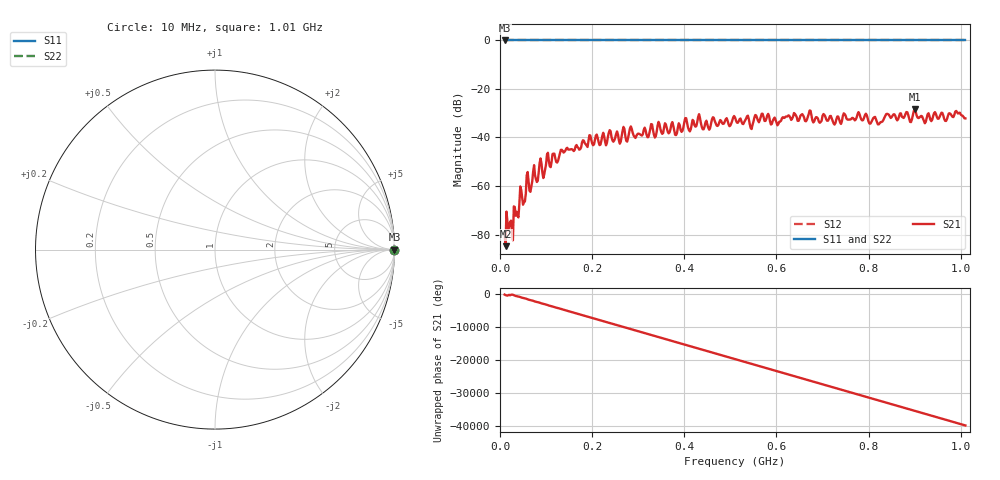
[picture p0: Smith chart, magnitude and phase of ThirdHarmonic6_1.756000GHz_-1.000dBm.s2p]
! 8/16/2025 9:11:40 PM
! C:\ANRITSUVNA\TEMP\TEMP.S2P
! CHANNEL.1
! TR.MEASUREMENT
! RAW.DATA
! RF.CORRECTION.OFF
! AVERAGING.OFF
! IF.BANDWIDTH: 5KHZ
! SWEEPTYPE:  FREQ.SWEEP(Linear)
! Reference Plane Port Info
! PORT:  PORT1  PORT2
! DISTANCE:  0  m  0  m
! TIME:  0  s  0  s
! PHASE.OFFSET:  0  deg.  0  deg.
! LOSS:  0  dB  0  dB
! REF.LOSS:  0  dB  0  dB
! REF.FREQ:  0  Hz  0  Hz
! Power Info
! POWER:  -20  dBm  -20  dBm
! EFF.POWER:  -20  dBm  -20  dBm
! SOURCE.ATTEN:  0  dB  0  dB
! TEST.ATTEN:  0  dB  0  dB
# GHZ S RI R 50.0
! FREQ.GHZ  S11RE  S11IM  S21RE  S21IM  S12RE  S12IM  S22RE  S22IM
!; PortSelection: Port_12
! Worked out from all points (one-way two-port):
!   501 points, 10 MHz to 1.01 GHz, reference 50 ohm
!   highest |S21| = -28.23 dB at 900 MHz (marker M1); lowest = -84.8 dB at 12 MHz (marker M2)
!   lowest |S11| = 0.0 dB at 10 MHz (marker M3)
!   |S11| at or under -10 dB: nowhere
!   |S22| runs from 0.0 to 0.0 dB; largest |S21 - S12| = 1
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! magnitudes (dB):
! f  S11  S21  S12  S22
! 10 MHz  0.0  -79.2  0.0  0.0
! 12 MHz  0.0  -84.8  0.0  0.0
! 24 MHz  0.0  -74.3  0.0  0.0
! 46 MHz  0.0  -61.6  0.0  0.0
! 52 MHz  0.0  -66.6  0.0  0.0
! 60 MHz  0.0  -54.2  0.0  0.0
! 66 MHz  0.0  -62.4  0.0  0.0
! 88 MHz  0.0  -48.6  0.0  0.0
! 96 MHz  0.0  -55.2  0.0  0.0
! 102 MHz  0.0  -47.1  0.0  0.0
! 178 MHz  0.0  -42.0  0.0  0.0
! 344 MHz  0.0  -33.6  0.0  0.0
! 382 MHz  0.0  -39.0  0.0  0.0
! 402 MHz  0.0  -32.0  0.0  0.0
! 412 MHz  0.0  -37.5  0.0  0.0
! 510 MHz  0.0  -31.7  0.0  0.0
! 678 MHz  0.0  -33.0  0.0  0.0
! 824 MHz  0.0  -34.1  0.0  0.0
! 844 MHz  0.0  -30.6  0.0  0.0
! 900 MHz  0.0  -28.2  0.0  0.0
! 922 MHz  0.0  -34.1  0.0  0.0
! 1.01 GHz  0.0  -32.1  0.0  0.0
